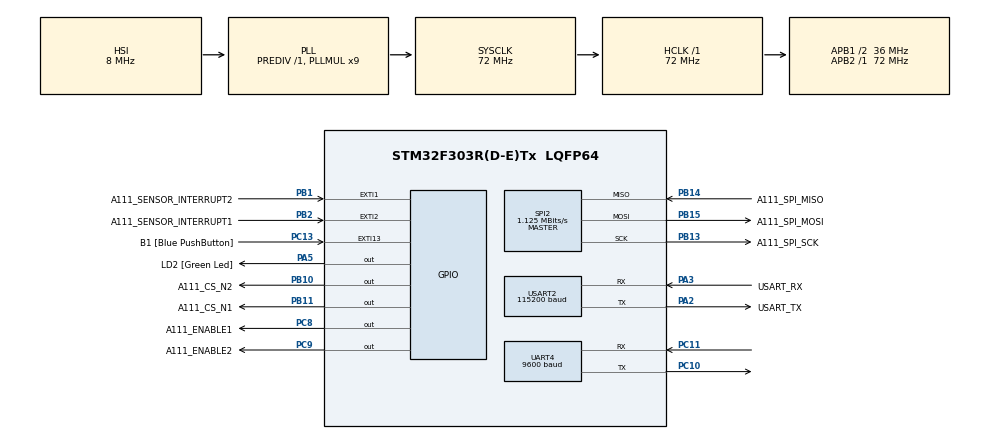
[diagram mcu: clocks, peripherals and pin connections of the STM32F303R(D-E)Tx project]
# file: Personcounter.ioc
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Mcu.Family=STM32F3
Mcu.Name=STM32F303R(D-E)Tx
Mcu.Package=LQFP64
NVIC.EXTI1_IRQn=true\:0\:0\:false\:false\:true\:true\:true\:true
NVIC.EXTI2_TSC_IRQn=true\:0\:0\:false\:false\:true\:true\:true\:true
NVIC.PriorityGroup=NVIC_PRIORITYGROUP_0
PA13.GPIO_Label=TMS
PA13.Mode=Serial_Wire
PA13.Signal=SYS_JTMS-SWDIO
PA14.GPIO_Label=TCK
PA14.Mode=Serial_Wire
PA14.Signal=SYS_JTCK-SWCLK
PA2.GPIO_Label=USART_TX
PA2.GPIO_Mode=GPIO_MODE_AF_PP
PA2.GPIO_PuPd=GPIO_NOPULL
PA2.GPIO_Speed=GPIO_SPEED_FREQ_LOW
PA2.Mode=Asynchronous
PA2.Signal=USART2_TX
PA3.GPIO_Label=USART_RX
PA3.GPIO_Mode=GPIO_MODE_AF_PP
PA3.GPIO_PuPd=GPIO_NOPULL
PA3.GPIO_Speed=GPIO_SPEED_FREQ_LOW
PA3.Mode=Asynchronous
PA3.Signal=USART2_RX
PA5.GPIO_Label=LD2 [Green Led]
PA5.GPIO_Mode=GPIO_MODE_OUTPUT_PP
PA5.GPIO_PuPd=GPIO_NOPULL
PA5.GPIO_Speed=GPIO_SPEED_FREQ_LOW
PA5.Signal=GPIO_Output
PB1.GPIO_Label=A111_SENSOR_INTERRUPT2
PB1.Signal=GPXTI1
PB10.GPIO_Label=A111_CS_N2
PB10.Signal=GPIO_Output
PB11.GPIO_Label=A111_CS_N1
PB11.Signal=GPIO_Output
PB13.GPIO_Label=A111_SPI_SCK
PB13.Mode=Full_Duplex_Master
PB13.Signal=SPI2_SCK
PB14.GPIO_Label=A111_SPI_MISO
PB14.Mode=Full_Duplex_Master
PB14.Signal=SPI2_MISO
PB15.GPIO_Label=A111_SPI_MOSI
PB15.Mode=Full_Duplex_Master
PB15.Signal=SPI2_MOSI
PB2.GPIO_Label=A111_SENSOR_INTERRUPT1
PB2.Signal=GPXTI2
PB3.GPIO_Label=SWO
PB3.Signal=SYS_JTDO-TRACESWO
PC10.Mode=Asynchronous
PC10.Signal=UART4_TX
PC11.Mode=Asynchronous
PC11.Signal=UART4_RX
PC13.GPIO_Label=B1 [Blue PushButton]
PC13.GPIO_ModeDefaultEXTI=GPIO_MODE_IT_FALLING
PC13.Signal=GPXTI13
PC14-OSC32_IN.Mode=LSE-External-Oscillator
PC14-OSC32_IN.Signal=RCC_OSC32_IN
PC15-OSC32_OUT.Mode=LSE-External-Oscillator
PC15-OSC32_OUT.Signal=RCC_OSC32_OUT
PC8.GPIO_Label=A111_ENABLE1
PC8.Signal=GPIO_Output
PC9.GPIO_Label=A111_ENABLE2
PC9.Signal=GPIO_Output
PF0-OSC_IN.Mode=HSE-External-Clock-Source
PF0-OSC_IN.Signal=RCC_OSC_IN
PF1-OSC_OUT.Signal=RCC_OSC_OUT
ProjectManager.HeapSize=0x200
ProjectManager.StackSize=0x400
ProjectManager.TargetToolchain=STM32CubeIDE
RCC.AHBFreq_Value=72000000
RCC.APB1CLKDivider=RCC_HCLK_DIV2
RCC.APB1Freq_Value=36000000
RCC.APB1TimFreq_Value=72000000
RCC.APB2Freq_Value=72000000
RCC.APB2TimFreq_Value=72000000
RCC.CortexFreq_Value=72000000
RCC.HCLKFreq_Value=72000000
RCC.HSE_VALUE=8000000
RCC.HSI_VALUE=8000000
RCC.PLLM=8
RCC.PLLMUL=RCC_PLL_MUL9
RCC.PLLN=336
RCC.PLLP=RCC_PLLP_DIV4
RCC.PLLQ=7
RCC.RCC_PLLsource_Clock_Source_FROM_HSE=RCC_HSE_PREDIV_DIV2
RCC.SYSCLKFreq_VALUE=72000000
RCC.SYSCLKSourceVirtual=RCC_SYSCLKSOURCE_PLLCLK
RCC.USBFreq_Value=72000000
SPI2.BaudRatePrescaler=SPI_BAUDRATEPRESCALER_32
SPI2.CalculateBaudRate=1.125 MBits/s
SPI2.DataSize=SPI_DATASIZE_8BIT
SPI2.Direction=SPI_DIRECTION_2LINES
SPI2.Mode=SPI_MODE_MASTER
SPI2.VirtualType=VM_MASTER
UART4.BaudRate=9600
USART2.BaudRate=115200
USART2.VirtualMode-Asynchronous=VM_ASYNC
board=NUCLEO-F303RE

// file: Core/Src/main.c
/* USER CODE BEGIN Header */
/**
  ******************************************************************************
  * @file           : main.c
  * @brief          : Main program body
  ******************************************************************************
  * @attention
  *
  * Copyright (c) 2023 STMicroelectronics.
  * All rights reserved.
  *
  * This software is licensed under terms that can be found in the LICENSE file
  * in the root directory of this software component.
  * If no LICENSE file comes with this software, it is provided AS-IS.
  *
  ******************************************************************************
  */
/* USER CODE END Header */
#include "main.h"

/* USER CODE BEGIN Includes */
#include "example_assembly_test.h"
/* USER CODE END Includes */

SPI_HandleTypeDef hspi2;

UART_HandleTypeDef huart4;
UART_HandleTypeDef huart2;

void SystemClock_Config(void);
static void MX_GPIO_Init(void);
static void MX_USART2_UART_Init(void);
static void MX_SPI2_Init(void);
static void MX_UART4_Init(void);

int main(void)
{

  /* MCU Configuration--------------------------------------------------------*/

  /* Reset of all peripherals, Initializes the Flash interface and the Systick. */
  HAL_Init();

  /* Configure the system clock */
  SystemClock_Config();

  /* Initialize all configured peripherals */
  MX_GPIO_Init();
  MX_USART2_UART_Init();
  MX_SPI2_Init();
  MX_UART4_Init();
  /* USER CODE BEGIN 2 */

  acc_example_assembly_test(0, NULL);

  // Setup RSS
/*
	const acc_hal_t *hal = acc_hal_integration_get_implementation();
	if (!acc_rss_activate(hal))
	{
		printf("Error in creating hal construct\n\r");
	}

	acc_service_configuration_t envelope_configuration = acc_service_envelope_configuration_create();
	if (envelope_configuration == NULL)
	{
		printf("acc_service_envelope_configuration_create() failed\n");
		acc_rss_deactivate();
	}

	set_configuration(envelope_configuration);

	acc_service_handle_t rss_handle = acc_service_create(envelope_configuration);

	if (rss_handle == NULL)
	{
		printf("acc_service_create() failed\n");
		acc_service_envelope_configuration_destroy(&envelope_configuration);
		acc_rss_deactivate();
		return EXIT_FAILURE;
	}

	acc_service_envelope_configuration_destroy(&envelope_configuration);

	acc_service_envelope_metadata_t envelope_metadata = { 0 };
	acc_service_envelope_get_metadata(rss_handle, &envelope_metadata);

	printf("Start: %d mm\n", (int)(envelope_metadata.start_m * 1000.0f));
	printf("Length: %u mm\n", (unsigned int)(envelope_metadata.length_m * 1000.0f));
	printf("Data length: %u\n", (unsigned int)(envelope_metadata.data_length));

	uint16_t data1[envelope_metadata.data_length];
	uint16_t data2[envelope_metadata.data_length];
	acc_service_envelope_result_info_t result_info1;
	acc_service_envelope_result_info_t result_info2;

	if (!acc_service_activate(rss_handle))
	{
		printf("acc_service_activate() failed\n");
		acc_service_destroy(&rss_handle);
		acc_rss_deactivate();
		return EXIT_FAILURE;
	}
*/

  /* USER CODE END 2 */

  /* Infinite loop */
  /* USER CODE BEGIN WHILE */
  while (1)
  {
	/*
	acc_service_envelope_get_next(rss_handle, data1, envelope_metadata.data_length, &result_info1);
	printf("\n\rData: ");
	//HAL_Delay(400);
	print_data(data1, envelope_metadata.data_length);
	printf("\n\rAfstand: %i;", peak_index(data1, envelope_metadata.data_length));
	*/
    /* USER CODE END WHILE */

  }
}

void SystemClock_Config(void)
{
  RCC_OscInitTypeDef RCC_OscInitStruct = {0};
  RCC_ClkInitTypeDef RCC_ClkInitStruct = {0};
  RCC_PeriphCLKInitTypeDef PeriphClkInit = {0};

  /** Initializes the RCC Oscillators according to the specified parameters
  * in the RCC_OscInitTypeDef structure.
  */
  RCC_OscInitStruct.OscillatorType = RCC_OSCILLATORTYPE_HSI;
  RCC_OscInitStruct.HSIState = RCC_HSI_ON;
  RCC_OscInitStruct.HSICalibrationValue = RCC_HSICALIBRATION_DEFAULT;
  RCC_OscInitStruct.PLL.PLLState = RCC_PLL_ON;
  RCC_OscInitStruct.PLL.PLLSource = RCC_PLLSOURCE_HSI;
  RCC_OscInitStruct.PLL.PLLMUL = RCC_PLL_MUL9;
  RCC_OscInitStruct.PLL.PREDIV = RCC_PREDIV_DIV1;
  if (HAL_RCC_OscConfig(&RCC_OscInitStruct) != HAL_OK)
  {
    Error_Handler();
  }

  /** Initializes the CPU, AHB and APB buses clocks
  */
  RCC_ClkInitStruct.ClockType = RCC_CLOCKTYPE_HCLK|RCC_CLOCKTYPE_SYSCLK
                              |RCC_CLOCKTYPE_PCLK1|RCC_CLOCKTYPE_PCLK2;
  RCC_ClkInitStruct.SYSCLKSource = RCC_SYSCLKSOURCE_PLLCLK;
  RCC_ClkInitStruct.AHBCLKDivider = RCC_SYSCLK_DIV1;
  RCC_ClkInitStruct.APB1CLKDivider = RCC_HCLK_DIV2;
  RCC_ClkInitStruct.APB2CLKDivider = RCC_HCLK_DIV1;

  if (HAL_RCC_ClockConfig(&RCC_ClkInitStruct, FLASH_LATENCY_2) != HAL_OK)
  {
    Error_Handler();
  }
  PeriphClkInit.PeriphClockSelection = RCC_PERIPHCLK_USART2|RCC_PERIPHCLK_UART4;
  PeriphClkInit.Usart2ClockSelection = RCC_USART2CLKSOURCE_PCLK1;
  PeriphClkInit.Uart4ClockSelection = RCC_UART4CLKSOURCE_PCLK1;
  if (HAL_RCCEx_PeriphCLKConfig(&PeriphClkInit) != HAL_OK)
  {
    Error_Handler();
  }
}

static void MX_SPI2_Init(void)
{

  /* SPI2 parameter configuration*/
  hspi2.Instance = SPI2;
  hspi2.Init.Mode = SPI_MODE_MASTER;
  hspi2.Init.Direction = SPI_DIRECTION_2LINES;
  hspi2.Init.DataSize = SPI_DATASIZE_8BIT;
  hspi2.Init.CLKPolarity = SPI_POLARITY_LOW;
  hspi2.Init.CLKPhase = SPI_PHASE_1EDGE;
  hspi2.Init.NSS = SPI_NSS_SOFT;
  hspi2.Init.BaudRatePrescaler = SPI_BAUDRATEPRESCALER_32;
  hspi2.Init.FirstBit = SPI_FIRSTBIT_MSB;
  hspi2.Init.TIMode = SPI_TIMODE_DISABLE;
  hspi2.Init.CRCCalculation = SPI_CRCCALCULATION_DISABLE;
  hspi2.Init.CRCPolynomial = 7;
  hspi2.Init.CRCLength = SPI_CRC_LENGTH_DATASIZE;
  hspi2.Init.NSSPMode = SPI_NSS_PULSE_ENABLE;
  if (HAL_SPI_Init(&hspi2) != HAL_OK)
  {
    Error_Handler();
  }

}

static void MX_UART4_Init(void)
{

  huart4.Instance = UART4;
  huart4.Init.BaudRate = 9600;
  huart4.Init.WordLength = UART_WORDLENGTH_8B;
  huart4.Init.StopBits = UART_STOPBITS_1;
  huart4.Init.Parity = UART_PARITY_NONE;
  huart4.Init.Mode = UART_MODE_TX_RX;
  huart4.Init.HwFlowCtl = UART_HWCONTROL_NONE;
  huart4.Init.OverSampling = UART_OVERSAMPLING_16;
  huart4.Init.OneBitSampling = UART_ONE_BIT_SAMPLE_DISABLE;
  huart4.AdvancedInit.AdvFeatureInit = UART_ADVFEATURE_NO_INIT;
  if (HAL_UART_Init(&huart4) != HAL_OK)
  {
    Error_Handler();
  }

}

static void MX_USART2_UART_Init(void)
{

  huart2.Instance = USART2;
  huart2.Init.BaudRate = 115200;
  huart2.Init.WordLength = UART_WORDLENGTH_8B;
  huart2.Init.StopBits = UART_STOPBITS_1;
  huart2.Init.Parity = UART_PARITY_NONE;
  huart2.Init.Mode = UART_MODE_TX_RX;
  huart2.Init.HwFlowCtl = UART_HWCONTROL_NONE;
  huart2.Init.OverSampling = UART_OVERSAMPLING_16;
  huart2.Init.OneBitSampling = UART_ONE_BIT_SAMPLE_DISABLE;
  huart2.AdvancedInit.AdvFeatureInit = UART_ADVFEATURE_NO_INIT;
  if (HAL_UART_Init(&huart2) != HAL_OK)
  {
    Error_Handler();
  }

}

static void MX_GPIO_Init(void)
{
  GPIO_InitTypeDef GPIO_InitStruct = {0};

  /* GPIO Ports Clock Enable */
  __HAL_RCC_GPIOC_CLK_ENABLE();
  __HAL_RCC_GPIOF_CLK_ENABLE();
  __HAL_RCC_GPIOA_CLK_ENABLE();
  __HAL_RCC_GPIOB_CLK_ENABLE();

  /*Configure GPIO pin Output Level */
  HAL_GPIO_WritePin(LD2_GPIO_Port, LD2_Pin, GPIO_PIN_RESET);

  /*Configure GPIO pin Output Level */
  HAL_GPIO_WritePin(GPIOB, A111_CS_N2_Pin|A111_CS_N1_Pin, GPIO_PIN_RESET);

  /*Configure GPIO pin Output Level */
  HAL_GPIO_WritePin(GPIOC, A111_ENABLE1_Pin|A111_ENABLE2_Pin, GPIO_PIN_RESET);

  /*Configure GPIO pin : B1_Pin */
  GPIO_InitStruct.Pin = B1_Pin;
  GPIO_InitStruct.Mode = GPIO_MODE_IT_FALLING;
  GPIO_InitStruct.Pull = GPIO_NOPULL;
  HAL_GPIO_Init(B1_GPIO_Port, &GPIO_InitStruct);

  /*Configure GPIO pin : LD2_Pin */
  GPIO_InitStruct.Pin = LD2_Pin;
  GPIO_InitStruct.Mode = GPIO_MODE_OUTPUT_PP;
  GPIO_InitStruct.Pull = GPIO_NOPULL;
  GPIO_InitStruct.Speed = GPIO_SPEED_FREQ_LOW;
  HAL_GPIO_Init(LD2_GPIO_Port, &GPIO_InitStruct);

  /*Configure GPIO pins : A111_SENSOR_INTERRUPT2_Pin A111_SENSOR_INTERRUPT1_Pin */
  GPIO_InitStruct.Pin = A111_SENSOR_INTERRUPT2_Pin|A111_SENSOR_INTERRUPT1_Pin;
  GPIO_InitStruct.Mode = GPIO_MODE_IT_RISING;
  GPIO_InitStruct.Pull = GPIO_NOPULL;
  HAL_GPIO_Init(GPIOB, &GPIO_InitStruct);

  /*Configure GPIO pins : A111_CS_N2_Pin A111_CS_N1_Pin */
  GPIO_InitStruct.Pin = A111_CS_N2_Pin|A111_CS_N1_Pin;
  GPIO_InitStruct.Mode = GPIO_MODE_OUTPUT_PP;
  GPIO_InitStruct.Pull = GPIO_NOPULL;
  GPIO_InitStruct.Speed = GPIO_SPEED_FREQ_LOW;
  HAL_GPIO_Init(GPIOB, &GPIO_InitStruct);

  /*Configure GPIO pins : A111_ENABLE1_Pin A111_ENABLE2_Pin */
  GPIO_InitStruct.Pin = A111_ENABLE1_Pin|A111_ENABLE2_Pin;
  GPIO_InitStruct.Mode = GPIO_MODE_OUTPUT_PP;
  GPIO_InitStruct.Pull = GPIO_NOPULL;
  GPIO_InitStruct.Speed = GPIO_SPEED_FREQ_LOW;
  HAL_GPIO_Init(GPIOC, &GPIO_InitStruct);

  /* EXTI interrupt init*/
  HAL_NVIC_SetPriority(EXTI1_IRQn, 0, 0);
  HAL_NVIC_EnableIRQ(EXTI1_IRQn);

  HAL_NVIC_SetPriority(EXTI2_TSC_IRQn, 0, 0);
  HAL_NVIC_EnableIRQ(EXTI2_TSC_IRQn);

}

/* USER CODE BEGIN 4 */

int peak_index(uint16_t *data, uint16_t data_length)
{
	uint16_t max = 0;
	int peak_idx = 0;

	for(int i=0; i<data_length; i++)
	{
		if(data[i] > max)
		{
			max = data[i];
			peak_idx = i;
		}
	}
	return peak_idx;
}

void print_data(uint16_t *data, uint16_t data_length)
{
	printf("Envelope data:\n");
	for (uint16_t i = 0; i < data_length; i++)
	{
		if ((i > 0) && ((i % 8) == 0))
		{
			printf("\n");
		}

		printf("%6u", (unsigned int)(data[i]));
	}

	printf("\n");
}

/**
  * @brief RSS configuration settings update
  * @param RSS service configuration
  * @retval None
  */
void set_configuration(acc_service_configuration_t envelope_configuration)
{
	acc_service_requested_start_set(envelope_configuration, STARTDATA);
	acc_service_requested_length_set(envelope_configuration, LENGTHDATA);
	acc_service_profile_set(envelope_configuration, PROFILE);
	acc_service_hw_accelerated_average_samples_set(envelope_configuration, HW_ACCELERATED_AVERAGE_SAMPLES);
	acc_service_mur_set(envelope_configuration, MAX_AMBIGUOUS_RANGE);
	acc_service_receiver_gain_set(envelope_configuration, RECEIVER_GAIN);
	acc_service_envelope_noise_level_normalization_set(envelope_configuration, NOISE_LEVEL_NORMALIZATION);
	acc_service_envelope_running_average_factor_set(envelope_configuration, RUNNING_AVERAGE_FACTOR);
	acc_service_envelope_downsampling_factor_set(envelope_configuration, DOWNSAMPLING_FACTOR);

}

int _write(int file, char *ptr, int len)
{
	HAL_UART_Transmit(&huart2, (uint8_t*)ptr, len, HAL_MAX_DELAY);
	return len;
}

/* USER CODE END 4 */

void Error_Handler(void)
{
  __disable_irq();
  while (1)
  {
  }
}
